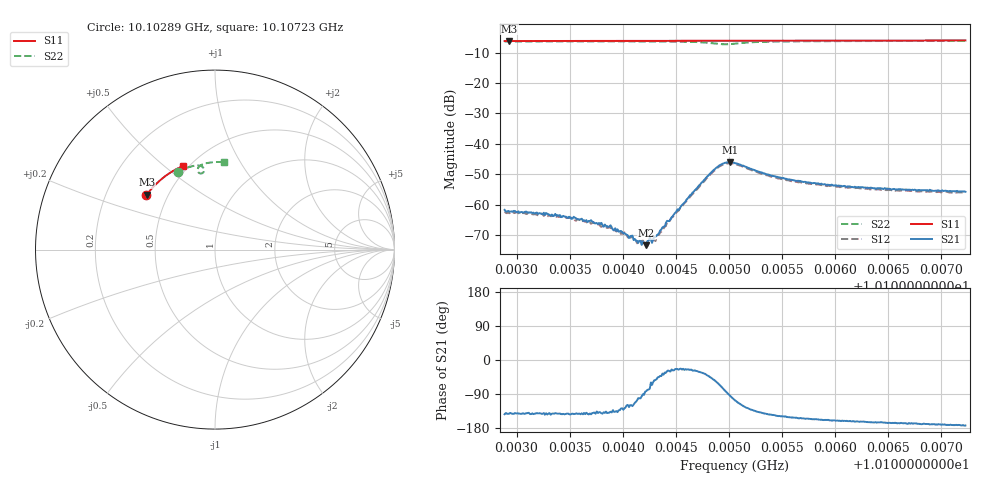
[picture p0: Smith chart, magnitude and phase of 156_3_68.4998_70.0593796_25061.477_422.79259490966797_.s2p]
#  HZ  S  RI  R  50.00
! Rohde & Schwarz Vector Network Analyzer
! Rohde-Schwarz,ZNB20-2Port,1311601062101988,3.16
! Created: UTC 3/20/2024, 5:10:44 PM
! freq[Hz]  re:S11  im:S11  re:S21  im:S21  re:S12  im:S12  re:S22  im:S22
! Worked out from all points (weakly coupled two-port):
!   401 points, 10.10289 GHz to 10.10723 GHz, reference 50 ohm
!   highest |S21| = -46.01 dB at 10.10501 GHz (marker M1); lowest = -73.3 dB at 10.10422 GHz (marker M2)
!   lowest |S11| = -6.2 dB at 10.10293 GHz (marker M3), VSWR 2.90, Z = 19.1 + j15.3 ohm
!   |S11| at or under -10 dB: nowhere
!   |S22| runs from -7.3 to -6.2 dB; largest |S21 - S12| = 0.00051
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1.0102888e10  -0.382 0.3032  -0.000664 -0.000499  -0.000554 -0.000549  -0.2065 0.4332
1.0102931e10  -0.3803 0.3052  -0.000612 -0.000491  -0.000525 -0.000508  -0.2039 0.4345
1.0103278e10  -0.3676 0.322  -0.000572 -0.00047  -0.000516 -0.000463  -0.1832 0.4446
1.0103615e10  -0.3544 0.3378  -0.000461 -0.000376  -0.000417 -0.000414  -0.1621 0.4535
1.0103875e10  -0.3438 0.3497  -0.000335 -0.000295  -0.000306 -0.000312  -0.1448 0.4597
1.0104092e10  -0.3349 0.3592  -0.000164 -0.000267  -0.00011 -0.000278  -0.1294 0.4643
1.0104125e10  -0.3336 0.3605  -9.07e-05 -0.000242  -6.55e-05 -0.000256  -0.1271 0.4648
1.0104201e10  -0.33 0.3638  -7.51e-06 -0.000235  2.35e-05 -0.000237  -0.1214 0.4661
1.0104222e10  -0.3292 0.3647  3.01e-05 -0.000215  3.83e-05 -0.000231  -0.1197 0.4664
1.0104287e10  -0.3265 0.3675  0.000147 -0.000236  0.000137 -0.000222  -0.1145 0.4675
1.0104342e10  -0.3241 0.3699  0.000243 -0.000243  0.000237 -0.000223  -0.11 0.4681
1.0104396e10  -0.3216 0.3721  0.000373 -0.000243  0.00038 -0.000223  -0.1052 0.4687
1.0104559e10  -0.3144 0.3788  0.000902 -0.000427  0.000893 -0.000301  -0.0896 0.4686
1.0104841e10  -0.3014 0.3899  0.00233 -0.00263  0.00244 -0.00231  -0.0609 0.4448
1.0104928e10  -0.2972 0.3931  0.00156 -0.00434  0.00193 -0.00402  -0.0674 0.428
1.0105014e10  -0.2934 0.3963  -0.000456 -0.00499  8.98e-06 -0.00482  -0.0863 0.4258
1.0105058e10  -0.2914 0.398  -0.00138 -0.00464  -0.000913 -0.0046  -0.0933 0.432
1.0105405e10  -0.275 0.4109  -0.00247 -0.00174  -0.00221 -0.00187  -0.0778 0.4709
1.0105785e10  -0.2561 0.4241  -0.00208 -0.000916  -0.00193 -0.00108  -0.0477 0.4817
1.0106175e10  -0.2359 0.4367  -0.00185 -0.000613  -0.00175 -0.000765  -0.02 0.4863
1.0106512e10  -0.2181 0.4468  -0.00179 -0.000455  -0.00165 -0.000593  0.00308 0.488
1.0107228e10  -0.179 0.4654  -0.00163 -0.000207  -0.00155 -0.000364  0.0504 0.4877
